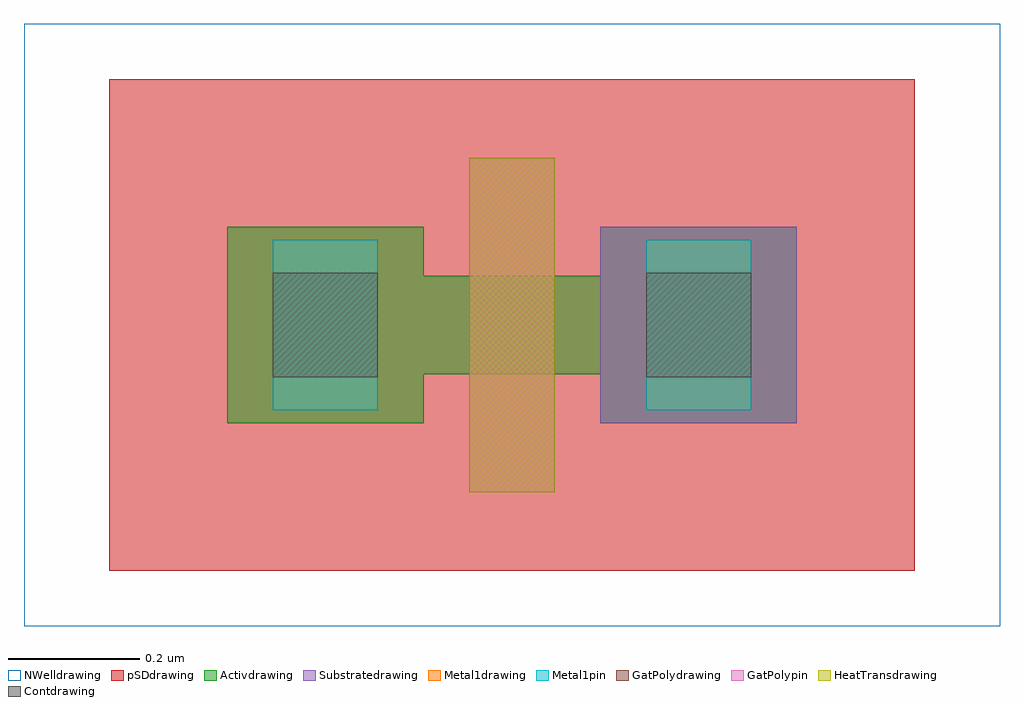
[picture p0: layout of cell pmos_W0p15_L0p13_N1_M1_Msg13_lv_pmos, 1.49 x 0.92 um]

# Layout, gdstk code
import gdstk
lib = gdstk.Library(unit=1e-6, precision=1e-09)
def R(c, l, rs):  # rectangles x0, y0, x1, y1
    for r in rs: c.add(gdstk.rectangle(r[:2], r[2:], *l))
Activdrawing = (1, 0)
GatPolydrawing = (5, 0)
GatPolypin = (5, 2)
Contdrawing = (6, 0)
Metal1drawing = (8, 0)
Metal1pin = (8, 2)
pSDdrawing = (14, 0)
NWelldrawing = (31, 0)
Substratedrawing = (40, 0)
HeatTransdrawing = (51, 0)

pmos_w0p15_l0p13_n1_m1_m = lib.new_cell('pmos_W0p15_L0p13_N1_M1_Msg13_lv_pmos')
R(pmos_w0p15_l0p13_n1_m1_m, Activdrawing, [(0,0,0.3,0.3), (0.57,0,0.87,0.3), (0,0.075,0.87,0.225)])
R(pmos_w0p15_l0p13_n1_m1_m, GatPolydrawing, [(0.37,-0.105,0.5,0.405)])
R(pmos_w0p15_l0p13_n1_m1_m, GatPolypin, [(0.37,-0.105,0.5,0.405)])
R(pmos_w0p15_l0p13_n1_m1_m, Contdrawing, [(0.07,0.07,0.23,0.23), (0.64,0.07,0.8,0.23)])
R(pmos_w0p15_l0p13_n1_m1_m, Metal1drawing, [(0.07,0.02,0.23,0.28), (0.64,0.02,0.8,0.28)])
R(pmos_w0p15_l0p13_n1_m1_m, Metal1pin, [(0.07,0.02,0.23,0.28), (0.64,0.02,0.8,0.28)])
R(pmos_w0p15_l0p13_n1_m1_m, pSDdrawing, [(-0.18,-0.225,1.05,0.525)])
R(pmos_w0p15_l0p13_n1_m1_m, NWelldrawing, [(-0.31,-0.31,1.18,0.61)])
R(pmos_w0p15_l0p13_n1_m1_m, Substratedrawing, [(0.57,0,0.87,0.3)])
R(pmos_w0p15_l0p13_n1_m1_m, HeatTransdrawing, [(0.37,-0.105,0.5,0.405)])

lib.write_gds('pmos_W0p15_L0p13_N1_M1_Msg13_lv_pmos.gds')
